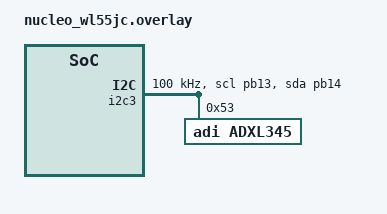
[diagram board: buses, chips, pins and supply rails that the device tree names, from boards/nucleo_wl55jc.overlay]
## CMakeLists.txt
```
cmake_minimum_required(VERSION 3.20.0)
find_package(Zephyr REQUIRED HINTS $ENV{ZEPHYR_BASE})
project(adxl345_nucleo_wl55jc)

target_sources(app PRIVATE src/main.c)
```

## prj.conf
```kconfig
CONFIG_GPIO=y
CONFIG_I2C=y
CONFIG_SENSOR=y
CONFIG_SENSOR_ASYNC_API=y
CONFIG_ADXL345=y
CONFIG_LOG=y
CONFIG_LOG_DEFAULT_LEVEL=3
# Enable console over UART (default)
CONFIG_UART_CONSOLE=y
```

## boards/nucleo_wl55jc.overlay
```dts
// ADXL345 连接到 I2C3 总线
// 硬件连线：CN8 Pin 5 (PB14) → ADXL345 SDA, CN8 Pin 6 (PB13) → ADXL345 SCL
&i2c3 {
    status = "okay";
    pinctrl-0 = <&i2c3_scl_pb13 &i2c3_sda_pb14>;
    pinctrl-names = "default";
    clock-frequency = <100000>;
    
    adxl345@53 {
        compatible = "adi,adxl345";
        reg = <0x53>;
        status = "okay";
    };
};

&pinctrl {
    i2c3_scl_pb13: i2c3_scl_pb13 {
        pinmux = <STM32_PINMUX('B', 13, AF4)>;
        bias-pull-up;
        drive-open-drain;
    };
    
    i2c3_sda_pb14: i2c3_sda_pb14 {
        pinmux = <STM32_PINMUX('B', 14, AF4)>;
        bias-pull-up;
        drive-open-drain;
    };
};
```

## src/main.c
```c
/*
 * Simple ADXL345 reader for Nucleo WL55JC1 using Zephyr sensor API (SPI).
 * Reads acceleration (X, Y, Z) and prints to console every second.
 */

#include <zephyr/kernel.h>
#include <zephyr/device.h>
#include <zephyr/devicetree.h>
#include <zephyr/drivers/sensor.h>
#include <zephyr/drivers/sensor_data_types.h>
#include <zephyr/logging/log.h>

LOG_MODULE_REGISTER(adxl345_nucleo, LOG_LEVEL_INF);

/* Get a device structure from a devicetree node with compatible "adi,adxl345" */
const struct device *const dev = DEVICE_DT_GET_ANY(adi_adxl345);

static const struct device *check_adxl345_device(void)
{
    if (dev == NULL) {
        LOG_INF("Error: no ADXL345 device found. Ensure it is described in devicetree overlay and driver is enabled.");
        return NULL;
    }

    if (!device_is_ready(dev)) {
        LOG_INF("Error: Device '%s' is not ready; check driver logs.", dev->name);
        return NULL;
    }

    LOG_INF("Found ADXL345 device '%s', reading acceleration data...", dev->name);
    return dev;
}

int main(void)
{
    const struct device *dev = check_adxl345_device();

    if (dev == NULL) {
        return 0;
    }

    while (1) {
        struct sensor_value accel[3];  /* X, Y, Z */
        
        /* Fetch sample from the sensor */
        int rc = sensor_sample_fetch(dev);
        if (rc != 0) {
            LOG_ERR("sensor_sample_fetch() failed: %d", rc);
            k_sleep(K_SECONDS(1));
            continue;
        }

        /* Get acceleration data for all three axes */
        rc = sensor_channel_get(dev, SENSOR_CHAN_ACCEL_X, &accel[0]);
        if (rc != 0) {
            LOG_ERR("sensor_channel_get(ACCEL_X) failed: %d", rc);
            k_sleep(K_SECONDS(1));
            continue;
        }

        rc = sensor_channel_get(dev, SENSOR_CHAN_ACCEL_Y, &accel[1]);
        if (rc != 0) {
            LOG_ERR("sensor_channel_get(ACCEL_Y) failed: %d", rc);
            k_sleep(K_SECONDS(1));
            continue;
        }

        rc = sensor_channel_get(dev, SENSOR_CHAN_ACCEL_Z, &accel[2]);
        if (rc != 0) {
            LOG_ERR("sensor_channel_get(ACCEL_Z) failed: %d", rc);
            k_sleep(K_SECONDS(1));
            continue;
        }

        /* Print acceleration data in m/s^2 */
        LOG_INF("Accel X: %d.%06d m/s^2, Y: %d.%06d m/s^2, Z: %d.%06d m/s^2",
                accel[0].val1, accel[0].val2,
                accel[1].val1, accel[1].val2,
                accel[2].val1, accel[2].val2);

        k_sleep(K_SECONDS(1));
    }

    return 0;
}
```
